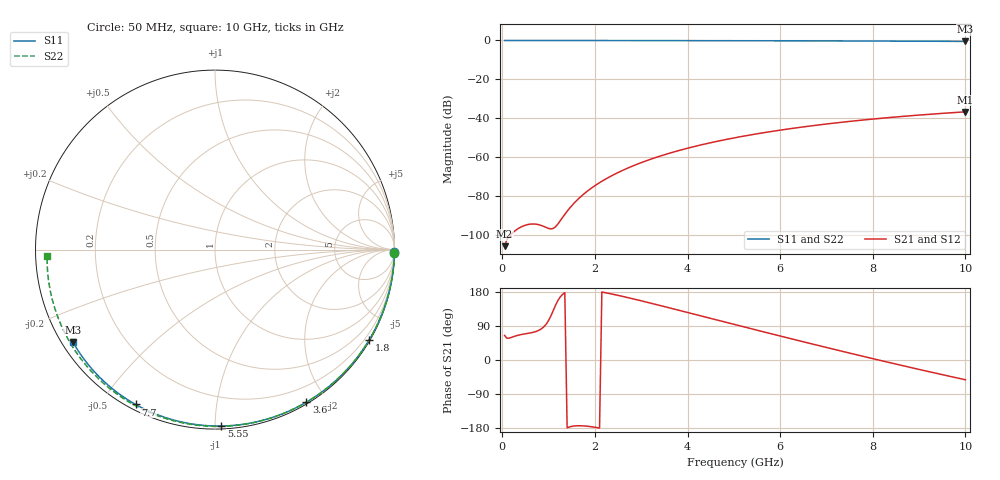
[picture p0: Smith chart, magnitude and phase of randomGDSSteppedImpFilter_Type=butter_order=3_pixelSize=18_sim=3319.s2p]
! freq	dB(S11)	phase(S11)	dB(S12)	phase(S12)
!  dB(S21)	phase(S21)	dB(S22)	phase(S22)
!S-par simulation data
#  GHz  S  DB  R 50
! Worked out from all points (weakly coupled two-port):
!   200 points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, 50 MHz to 10 GHz, reference 50 ohm
!   highest |S21| = -36.61 dB at 10 GHz (marker M1); lowest = -105.5 dB at 50 MHz (marker M2)
!   lowest |S11| = -0.5 dB at 10 GHz (marker M3), VSWR 35.04, Z = 1.55 - j14.8 ohm
!   |S11| at or under -10 dB: nowhere
!   |S22| runs from -0.6 to 0.0 dB; largest |S21 - S12| = 0
!   S11 on the Smith chart (normalised r, x): 50 MHz: open; 1.8 GHz: 0.03, -3.69; 3.6 GHz: 0.02, -1.77; 5.55 GHz: 0.02, -1.04; 7.7 GHz: 0.02, -0.61; 10 GHz: 0.03, -0.30
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0.05  -0.00 -0.9  -105.52 64.7  -105.52 64.7  -0.00 -1.0
0.45  -0.01 -7.7  -95.17 68.1  -95.17 68.1  -0.01 -9.4
0.85  -0.02 -14.5  -94.96 82.8  -94.96 82.8  -0.02 -17.6
1.25  -0.03 -21.2  -92.56 166.2  -92.56 166.2  -0.03 -25.7
1.7  -0.04 -28.6  -79.99 -173.5  -79.99 -173.5  -0.04 -34.8
1.75  -0.04 -29.5  -78.96 -173.8  -78.96 -173.8  -0.05 -35.8
1.8  -0.04 -30.3  -77.98 -174.3  -77.98 -174.3  -0.05 -36.7
2.1  -0.04 -35.2  -72.95 -179.5  -72.95 -179.5  -0.05 -42.7
2.3  -0.05 -38.5  -70.18 175.8  -70.18 175.8  -0.06 -46.6
2.5  -0.05 -41.7  -67.74 170.6  -67.74 170.6  -0.06 -50.5
2.9  -0.06 -48.1  -63.58 159.2  -63.58 159.2  -0.07 -58.1
3.4  -0.07 -56.0  -59.37 144.1  -59.37 144.1  -0.09 -67.5
3.6  -0.08 -59.1  -57.90 137.9  -57.90 137.9  -0.09 -71.1
4.3  -0.10 -69.7  -53.52 116.0  -53.52 116.0  -0.12 -83.7
5.05  -0.12 -80.7  -49.78 92.6  -49.78 92.6  -0.15 -96.7
5.55  -0.14 -87.9  -47.68 77.1  -47.68 77.1  -0.17 -105.2
6.1  -0.17 -95.6  -45.65 60.2  -45.65 60.2  -0.20 -114.2
6.7  -0.20 -103.8  -43.72 42.0  -43.72 42.0  -0.24 -124.0
7.7  -0.27 -117.2  -41.02 12.3  -41.02 12.3  -0.32 -139.9
8.35  -0.32 -125.7  -39.55 -6.5  -39.55 -6.5  -0.38 -150.3
9.2  -0.40 -136.7  -37.91 -30.4  -37.91 -30.4  -0.47 -164.1
10  -0.50 -147.0  -36.61 -52.1  -36.61 -52.1  -0.57 -177.7
